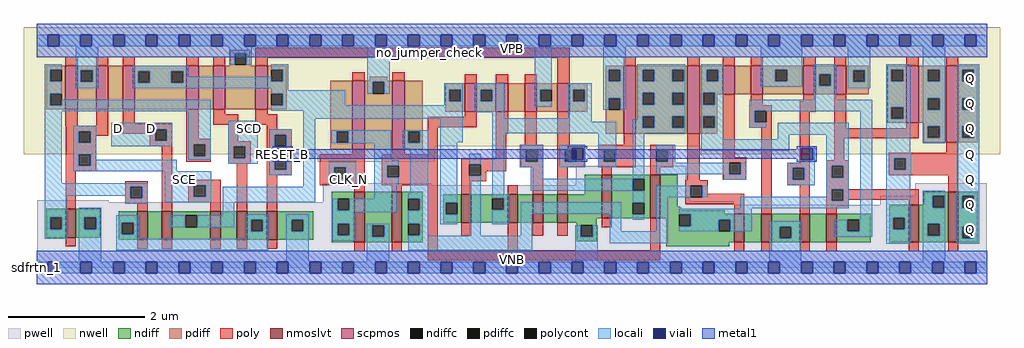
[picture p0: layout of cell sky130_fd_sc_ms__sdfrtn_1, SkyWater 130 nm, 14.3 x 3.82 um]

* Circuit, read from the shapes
.subckt sky130_fd_sc_ms__sdfrtn_1 CLK_N D RESET_B SCD SCE VGND VNB VPB VPWR Q
XM1 VGND SCE n1 VNB sky130_fd_pr__nfet_01v8_lvt w=0.42 l=0.15
XM2 n2 n1 n3 VNB sky130_fd_pr__nfet_01v8_lvt w=0.42 l=0.15
XM3 n4 D n2 VNB sky130_fd_pr__nfet_01v8_lvt w=0.42 l=0.15
XM4 n5 SCE n4 VNB sky130_fd_pr__nfet_01v8_lvt w=0.42 l=0.15
XM5 n3 SCD n5 VNB sky130_fd_pr__nfet_01v8_lvt w=0.42 l=0.15
XM6 VGND RESET_B n3 VNB sky130_fd_pr__nfet_01v8_lvt w=0.42 l=0.15
XM7 VGND CLK_N n6 VNB sky130_fd_pr__nfet_01v8_lvt w=0.74 l=0.15
XM8 n7 n6 VGND VNB sky130_fd_pr__nfet_01v8_lvt w=0.74 l=0.15
XM9 n8 n7 n4 VNB sky130_fd_pr__nfet_01v8_lvt w=0.42 l=0.15
XM10 n9 n6 n8 VNB sky130_fd_pr__nfet_01v8_lvt w=0.42 l=0.15
XM11 n10 n11 n9 VNB sky130_fd_pr__nfet_01v8_lvt w=0.42 l=0.15
XM12 VGND RESET_B n10 VNB sky130_fd_pr__nfet_01v8_lvt w=0.42 l=0.15
XM13 n11 n8 VGND VNB sky130_fd_pr__nfet_01v8_lvt w=0.64 l=0.15
XM14 n12 n6 n11 VNB sky130_fd_pr__nfet_01v8_lvt w=0.64 l=0.15
XM15 n13 n7 n12 VNB sky130_fd_pr__nfet_01v8_lvt w=0.42 l=0.15
XM16 VGND n14 n13 VNB sky130_fd_pr__nfet_01v8_lvt w=0.42 l=0.15
XM17 n15 RESET_B VGND VNB sky130_fd_pr__nfet_01v8_lvt w=0.42 l=0.15
XM18 n14 n12 n15 VNB sky130_fd_pr__nfet_01v8_lvt w=0.42 l=0.15
XM19 VGND n12 n16 VNB sky130_fd_pr__nfet_01v8_lvt w=0.55 l=0.15
XM20 Q n16 VGND VNB sky130_fd_pr__nfet_01v8_lvt w=0.74 l=0.15
XM21 VPWR SCE n1 VPB sky130_fd_pr__pfet_01v8 w=0.64 l=0.18
XM22 n17 SCE VPWR VPB sky130_fd_pr__pfet_01v8 w=0.64 l=0.18
XM23 n4 D n17 VPB sky130_fd_pr__pfet_01v8 w=0.64 l=0.18
XM24 n18 n1 n4 VPB sky130_fd_pr__pfet_01v8 w=0.64 l=0.18
XM25 VPWR SCD n18 VPB sky130_fd_pr__pfet_01v8 w=0.64 l=0.18
XM26 n4 RESET_B VPWR VPB sky130_fd_pr__pfet_01v8 w=0.64 l=0.18
XM27 VPWR CLK_N n6 VPB sky130_fd_pr__pfet_01v8 w=1 l=0.18
XM28 n7 n6 VPWR VPB sky130_fd_pr__pfet_01v8 w=1 l=0.18
XM29 n8 n6 n4 VPB sky130_fd_pr__pfet_01v8 w=0.42 l=0.18
XM30 n19 n7 n8 VPB sky130_fd_pr__pfet_01v8 w=0.42 l=0.18
XM31 VPWR n11 n19 VPB sky130_fd_pr__pfet_01v8 w=0.42 l=0.18
XM32 n8 RESET_B VPWR VPB sky130_fd_pr__pfet_01v8 w=0.42 l=0.18
XM33 n11 n8 VPWR VPB sky130_fd_pr__pfet_01v8 w=1 l=0.18
XM34 n12 n7 n11 VPB sky130_fd_pr__pfet_01v8 w=1 l=0.18
XM35 n20 n6 n12 VPB sky130_fd_pr__pfet_01v8 w=0.42 l=0.18
XM36 VPWR n14 n20 VPB sky130_fd_pr__pfet_01v8 w=0.42 l=0.18
XM37 n14 RESET_B VPWR VPB sky130_fd_pr__pfet_01v8 w=0.42 l=0.18
XM38 VPWR n12 n14 VPB sky130_fd_pr__pfet_01v8 w=0.42 l=0.18
XM39 VPWR n12 n16 VPB sky130_fd_pr__pfet_01v8 w=0.84 l=0.18
XM40 Q n16 VPWR VPB sky130_fd_pr__pfet_01v8 w=1.12 l=0.18
.ends

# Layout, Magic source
magic
tech sky130A
magscale 1 2
<< nwell >>
rect -38 356 2822 704
rect -38 332 1166 356
rect 1945 332 2822 356
rect 823 311 1166 332
<< pwell >>
rect 838 241 1156 248
rect 1579 241 1903 298
rect 838 205 1903 241
rect 2573 210 2783 248
rect 838 201 1911 205
rect 1 191 211 198
rect 838 194 1914 201
rect 838 191 2042 194
rect 1 184 2042 191
rect 2471 184 2783 210
rect 1 49 2783 184
rect 0 0 2784 49
<< scpmos >>
rect 83 464 119 592
rect 173 464 209 592
rect 251 464 287 592
rect 438 464 474 592
rect 516 464 552 592
rect 640 464 676 592
rect 924 347 960 547
rect 1041 347 1077 547
rect 1253 457 1289 541
rect 1345 457 1381 541
rect 1429 457 1465 541
rect 1525 457 1561 541
rect 1719 392 1755 592
rect 1906 392 1942 592
rect 2009 508 2045 592
rect 2091 508 2127 592
rect 2246 508 2282 592
rect 2336 508 2372 592
rect 2548 424 2584 592
rect 2664 368 2700 592
<< nmoslvt >>
rect 84 88 114 172
rect 294 81 324 165
rect 366 81 396 165
rect 508 81 538 165
rect 586 81 616 165
rect 674 81 704 165
rect 930 74 960 222
rect 1039 74 1069 222
rect 1243 131 1273 215
rect 1379 131 1409 215
rect 1453 131 1483 215
rect 1525 131 1555 215
rect 1655 144 1685 272
rect 1797 144 1827 272
rect 2043 74 2073 158
rect 2123 74 2153 158
rect 2235 74 2265 158
rect 2313 74 2343 158
rect 2554 74 2584 184
rect 2670 74 2700 222
<< ndiff >>
rect 27 147 84 172
rect 27 113 39 147
rect 73 113 84 147
rect 27 88 84 113
rect 114 147 185 172
rect 864 202 930 222
rect 864 168 881 202
rect 915 168 930 202
rect 114 113 139 147
rect 173 113 185 147
rect 114 88 185 113
rect 239 132 294 165
rect 239 98 249 132
rect 283 98 294 132
rect 239 81 294 98
rect 324 81 366 165
rect 396 153 508 165
rect 396 119 435 153
rect 469 119 508 153
rect 396 81 508 119
rect 538 81 586 165
rect 616 140 674 165
rect 616 106 628 140
rect 662 106 674 140
rect 616 81 674 106
rect 704 140 810 165
rect 704 106 747 140
rect 781 106 810 140
rect 704 81 810 106
rect 864 129 930 168
rect 864 95 881 129
rect 915 95 930 129
rect 864 74 930 95
rect 960 124 1039 222
rect 960 90 983 124
rect 1017 90 1039 124
rect 960 74 1039 90
rect 1069 202 1130 222
rect 1069 168 1088 202
rect 1122 168 1130 202
rect 1069 129 1130 168
rect 1069 95 1088 129
rect 1122 95 1130 129
rect 1069 74 1130 95
rect 1605 215 1655 272
rect 1190 190 1243 215
rect 1190 156 1198 190
rect 1232 156 1243 190
rect 1190 131 1243 156
rect 1273 203 1379 215
rect 1273 169 1334 203
rect 1368 169 1379 203
rect 1273 131 1379 169
rect 1409 131 1453 215
rect 1483 131 1525 215
rect 1555 144 1655 215
rect 1685 260 1797 272
rect 1685 226 1746 260
rect 1780 226 1797 260
rect 1685 190 1797 226
rect 1685 156 1746 190
rect 1780 156 1797 190
rect 1685 144 1797 156
rect 1827 179 1877 272
rect 1827 175 1885 179
rect 1827 168 1888 175
rect 1827 158 2016 168
rect 2599 210 2670 222
rect 2599 184 2625 210
rect 1827 156 2043 158
rect 1827 144 1882 156
rect 1555 131 1640 144
rect 1582 124 1640 131
rect 1582 90 1594 124
rect 1628 90 1640 124
rect 1582 78 1640 90
rect 1844 122 1882 144
rect 1916 140 2043 156
rect 1916 122 1998 140
rect 1844 106 1998 122
rect 2032 106 2043 140
rect 1844 74 2043 106
rect 2073 74 2123 158
rect 2153 120 2235 158
rect 2153 86 2176 120
rect 2210 86 2235 120
rect 2153 74 2235 86
rect 2265 74 2313 158
rect 2343 140 2443 158
rect 2343 106 2375 140
rect 2409 106 2443 140
rect 2343 74 2443 106
rect 2497 146 2554 184
rect 2497 112 2509 146
rect 2543 112 2554 146
rect 2497 74 2554 112
rect 2584 176 2625 184
rect 2659 176 2670 210
rect 2584 128 2670 176
rect 2584 94 2611 128
rect 2645 94 2670 128
rect 2584 74 2670 94
rect 2700 210 2757 222
rect 2700 176 2711 210
rect 2745 176 2757 210
rect 2700 120 2757 176
rect 2700 86 2711 120
rect 2745 86 2757 120
rect 2700 74 2757 86
rect 1844 62 2028 74
<< pdiff >>
rect 567 628 625 639
rect 567 594 579 628
rect 613 594 625 628
rect 567 592 625 594
rect 27 580 83 592
rect 27 546 39 580
rect 73 546 83 580
rect 27 510 83 546
rect 27 476 39 510
rect 73 476 83 510
rect 27 464 83 476
rect 119 578 173 592
rect 119 544 129 578
rect 163 544 173 578
rect 119 464 173 544
rect 209 464 251 592
rect 287 576 438 592
rect 287 542 297 576
rect 331 542 394 576
rect 428 542 438 576
rect 287 464 438 542
rect 474 464 516 592
rect 552 464 640 592
rect 676 580 732 592
rect 676 546 686 580
rect 720 546 732 580
rect 975 547 1026 560
rect 676 510 732 546
rect 676 476 686 510
rect 720 476 732 510
rect 676 464 732 476
rect 859 400 924 547
rect 859 366 878 400
rect 912 366 924 400
rect 859 347 924 366
rect 960 544 1041 547
rect 960 510 984 544
rect 1018 510 1041 544
rect 960 347 1041 510
rect 1077 400 1130 547
rect 1667 580 1719 592
rect 1667 546 1675 580
rect 1709 546 1719 580
rect 1197 522 1253 541
rect 1197 488 1208 522
rect 1242 488 1253 522
rect 1197 457 1253 488
rect 1289 522 1345 541
rect 1289 488 1300 522
rect 1334 488 1345 522
rect 1289 457 1345 488
rect 1381 457 1429 541
rect 1465 522 1525 541
rect 1465 488 1475 522
rect 1509 488 1525 522
rect 1465 457 1525 488
rect 1561 522 1613 541
rect 1561 488 1571 522
rect 1605 488 1613 522
rect 1561 457 1613 488
rect 1667 496 1719 546
rect 1667 462 1675 496
rect 1709 462 1719 496
rect 1077 366 1088 400
rect 1122 366 1130 400
rect 1077 347 1130 366
rect 1667 392 1719 462
rect 1755 580 1906 592
rect 1755 546 1775 580
rect 1809 546 1862 580
rect 1896 546 1906 580
rect 1755 512 1906 546
rect 1755 478 1775 512
rect 1809 478 1862 512
rect 1896 478 1906 512
rect 1755 444 1906 478
rect 1755 410 1775 444
rect 1809 410 1862 444
rect 1896 410 1906 444
rect 1755 392 1906 410
rect 1942 580 2009 592
rect 1942 546 1963 580
rect 1997 546 2009 580
rect 1942 512 2009 546
rect 1942 478 1952 512
rect 1986 508 2009 512
rect 2045 508 2091 592
rect 2127 580 2246 592
rect 2127 546 2164 580
rect 2198 546 2246 580
rect 2127 508 2246 546
rect 2282 567 2336 592
rect 2282 533 2292 567
rect 2326 533 2336 567
rect 2282 508 2336 533
rect 2372 578 2438 592
rect 2372 544 2392 578
rect 2426 544 2438 578
rect 2372 508 2438 544
rect 2492 580 2548 592
rect 2492 546 2504 580
rect 2538 546 2548 580
rect 1986 478 1994 508
rect 1942 444 1994 478
rect 1942 410 1952 444
rect 1986 410 1994 444
rect 1942 392 1994 410
rect 2492 470 2548 546
rect 2492 436 2504 470
rect 2538 436 2548 470
rect 2492 424 2548 436
rect 2584 580 2664 592
rect 2584 546 2611 580
rect 2645 546 2664 580
rect 2584 497 2664 546
rect 2584 463 2611 497
rect 2645 463 2664 497
rect 2584 424 2664 463
rect 2599 414 2664 424
rect 2599 380 2611 414
rect 2645 380 2664 414
rect 2599 368 2664 380
rect 2700 580 2757 592
rect 2700 546 2711 580
rect 2745 546 2757 580
rect 2700 497 2757 546
rect 2700 463 2711 497
rect 2745 463 2757 497
rect 2700 414 2757 463
rect 2700 380 2711 414
rect 2745 380 2757 414
rect 2700 368 2757 380
<< ndiffc >>
rect 39 113 73 147
rect 881 168 915 202
rect 139 113 173 147
rect 249 98 283 132
rect 435 119 469 153
rect 628 106 662 140
rect 747 106 781 140
rect 881 95 915 129
rect 983 90 1017 124
rect 1088 168 1122 202
rect 1088 95 1122 129
rect 1198 156 1232 190
rect 1334 169 1368 203
rect 1746 226 1780 260
rect 1746 156 1780 190
rect 1594 90 1628 124
rect 1882 122 1916 156
rect 1998 106 2032 140
rect 2176 86 2210 120
rect 2375 106 2409 140
rect 2509 112 2543 146
rect 2625 176 2659 210
rect 2611 94 2645 128
rect 2711 176 2745 210
rect 2711 86 2745 120
<< pdiffc >>
rect 579 594 613 628
rect 39 546 73 580
rect 39 476 73 510
rect 129 544 163 578
rect 297 542 331 576
rect 394 542 428 576
rect 686 546 720 580
rect 686 476 720 510
rect 878 366 912 400
rect 984 510 1018 544
rect 1675 546 1709 580
rect 1208 488 1242 522
rect 1300 488 1334 522
rect 1475 488 1509 522
rect 1571 488 1605 522
rect 1675 462 1709 496
rect 1088 366 1122 400
rect 1775 546 1809 580
rect 1862 546 1896 580
rect 1775 478 1809 512
rect 1862 478 1896 512
rect 1775 410 1809 444
rect 1862 410 1896 444
rect 1963 546 1997 580
rect 1952 478 1986 512
rect 2164 546 2198 580
rect 2292 533 2326 567
rect 2392 544 2426 578
rect 2504 546 2538 580
rect 1952 410 1986 444
rect 2504 436 2538 470
rect 2611 546 2645 580
rect 2611 463 2645 497
rect 2611 380 2645 414
rect 2711 546 2745 580
rect 2711 463 2745 497
rect 2711 380 2745 414
<< poly >>
rect 83 592 119 618
rect 173 592 209 618
rect 251 592 287 618
rect 438 592 474 618
rect 516 592 552 618
rect 640 615 1561 645
rect 640 592 676 615
rect 924 547 960 573
rect 1041 547 1077 573
rect 83 416 119 464
rect 173 416 209 464
rect 84 400 209 416
rect 84 366 123 400
rect 157 386 209 400
rect 251 422 287 464
rect 251 406 396 422
rect 251 392 346 406
rect 157 366 173 386
rect 84 332 173 366
rect 330 372 346 392
rect 380 372 396 406
rect 330 356 396 372
rect 84 298 123 332
rect 157 298 173 332
rect 84 282 173 298
rect 84 172 114 282
rect 258 237 324 253
rect 258 203 274 237
rect 308 203 324 237
rect 258 187 324 203
rect 294 165 324 187
rect 366 165 396 356
rect 438 377 474 464
rect 516 449 552 464
rect 640 449 676 464
rect 516 419 590 449
rect 640 419 704 449
rect 438 361 509 377
rect 438 327 459 361
rect 493 327 509 361
rect 438 311 509 327
rect 560 371 590 419
rect 674 405 704 419
rect 674 389 747 405
rect 560 355 626 371
rect 560 321 576 355
rect 610 321 626 355
rect 560 305 626 321
rect 674 355 697 389
rect 731 355 747 389
rect 674 321 747 355
rect 1253 541 1289 567
rect 1345 541 1381 567
rect 1429 541 1465 567
rect 1525 541 1561 615
rect 1719 592 1755 618
rect 1906 592 1942 618
rect 2009 592 2045 618
rect 2091 592 2127 618
rect 2246 592 2282 618
rect 2336 592 2372 618
rect 2548 592 2584 618
rect 2664 592 2700 618
rect 1253 442 1289 457
rect 1145 412 1289 442
rect 924 332 960 347
rect 1041 332 1077 347
rect 1145 332 1175 412
rect 444 241 538 257
rect 444 207 460 241
rect 494 207 538 241
rect 444 191 538 207
rect 508 165 538 191
rect 586 165 616 305
rect 674 287 697 321
rect 731 287 747 321
rect 674 271 747 287
rect 829 294 960 332
rect 674 165 704 271
rect 829 260 871 294
rect 905 260 960 294
rect 829 242 960 260
rect 1010 299 1175 332
rect 1345 393 1381 457
rect 1345 319 1375 393
rect 1429 360 1465 457
rect 1525 360 1561 457
rect 1719 360 1755 392
rect 1010 265 1026 299
rect 1060 265 1175 299
rect 1010 242 1175 265
rect 930 222 960 242
rect 1039 222 1069 242
rect 84 62 114 88
rect 294 55 324 81
rect 366 55 396 81
rect 508 55 538 81
rect 586 55 616 81
rect 674 55 704 81
rect 930 48 960 74
rect 1039 48 1069 74
rect 1145 51 1175 242
rect 1243 303 1375 319
rect 1243 269 1266 303
rect 1300 283 1375 303
rect 1417 344 1483 360
rect 1417 310 1433 344
rect 1467 310 1483 344
rect 1417 294 1483 310
rect 1300 269 1316 283
rect 1243 253 1316 269
rect 1243 215 1273 253
rect 1379 215 1409 241
rect 1453 215 1483 294
rect 1525 344 1603 360
rect 1525 310 1547 344
rect 1581 310 1603 344
rect 1525 294 1603 310
rect 1645 344 1755 360
rect 1645 310 1661 344
rect 1695 310 1755 344
rect 1645 294 1755 310
rect 1797 344 1864 360
rect 1797 310 1814 344
rect 1848 310 1864 344
rect 1797 294 1864 310
rect 1525 215 1555 294
rect 1655 272 1685 294
rect 1797 272 1827 294
rect 1906 256 1942 392
rect 2009 324 2045 508
rect 2091 476 2127 508
rect 2246 487 2282 508
rect 2087 460 2153 476
rect 2087 426 2103 460
rect 2137 426 2153 460
rect 2087 410 2153 426
rect 2009 308 2079 324
rect 2009 274 2029 308
rect 2063 274 2079 308
rect 2009 258 2079 274
rect 1899 240 1965 256
rect 1899 206 1915 240
rect 1949 216 1965 240
rect 1949 206 2073 216
rect 1899 186 2073 206
rect 2043 158 2073 186
rect 2123 158 2153 410
rect 2235 457 2282 487
rect 2235 308 2265 457
rect 2336 409 2372 508
rect 2548 409 2584 424
rect 2336 379 2584 409
rect 2336 314 2366 379
rect 2664 337 2700 368
rect 2496 321 2700 337
rect 2199 292 2265 308
rect 2199 258 2215 292
rect 2249 258 2265 292
rect 2199 242 2265 258
rect 2235 158 2265 242
rect 2313 298 2379 314
rect 2313 264 2329 298
rect 2363 264 2379 298
rect 2496 287 2512 321
rect 2546 287 2700 321
rect 2496 271 2700 287
rect 2313 230 2379 264
rect 2313 196 2329 230
rect 2363 229 2379 230
rect 2363 199 2584 229
rect 2670 222 2700 271
rect 2363 196 2379 199
rect 2313 180 2379 196
rect 2554 184 2584 199
rect 2313 158 2343 180
rect 1243 93 1273 131
rect 1379 51 1409 131
rect 1453 93 1483 131
rect 1525 93 1555 131
rect 1655 118 1685 144
rect 1797 51 1827 144
rect 1145 21 1827 51
rect 2043 48 2073 74
rect 2123 48 2153 74
rect 2235 48 2265 74
rect 2313 48 2343 74
rect 2554 48 2584 74
rect 2670 48 2700 74
<< polycont >>
rect 123 366 157 400
rect 346 372 380 406
rect 123 298 157 332
rect 274 203 308 237
rect 459 327 493 361
rect 576 321 610 355
rect 697 355 731 389
rect 460 207 494 241
rect 697 287 731 321
rect 871 260 905 294
rect 1026 265 1060 299
rect 1266 269 1300 303
rect 1433 310 1467 344
rect 1547 310 1581 344
rect 1661 310 1695 344
rect 1814 310 1848 344
rect 2103 426 2137 460
rect 2029 274 2063 308
rect 1915 206 1949 240
rect 2215 258 2249 292
rect 2329 264 2363 298
rect 2512 287 2546 321
rect 2329 196 2363 230
<< locali >>
rect 0 649 31 683
rect 65 649 127 683
rect 161 649 223 683
rect 257 649 319 683
rect 353 649 415 683
rect 449 649 511 683
rect 545 649 607 683
rect 641 649 703 683
rect 737 649 799 683
rect 833 649 895 683
rect 929 649 991 683
rect 1025 649 1087 683
rect 1121 649 1183 683
rect 1217 649 1279 683
rect 1313 649 1375 683
rect 1409 649 1471 683
rect 1505 649 1567 683
rect 1601 649 1663 683
rect 1697 649 1759 683
rect 1793 649 1855 683
rect 1889 649 1951 683
rect 1985 649 2047 683
rect 2081 649 2143 683
rect 2177 649 2239 683
rect 2273 649 2335 683
rect 2369 649 2431 683
rect 2465 649 2527 683
rect 2561 649 2623 683
rect 2657 649 2719 683
rect 2753 649 2784 683
rect 23 580 73 596
rect 23 546 39 580
rect 23 510 73 546
rect 113 578 179 649
rect 563 628 629 649
rect 563 594 579 628
rect 613 594 629 628
rect 113 544 129 578
rect 163 544 179 578
rect 113 526 179 544
rect 281 576 444 592
rect 281 542 297 576
rect 331 542 394 576
rect 428 560 444 576
rect 686 580 736 596
rect 428 546 686 560
rect 720 546 736 580
rect 428 542 736 546
rect 281 526 736 542
rect 23 476 39 510
rect 686 520 736 526
rect 968 544 1034 649
rect 686 510 903 520
rect 968 510 984 544
rect 1018 510 1034 544
rect 1193 522 1247 541
rect 73 476 509 492
rect 23 458 509 476
rect 720 476 903 510
rect 1193 488 1208 522
rect 1242 488 1247 522
rect 1193 476 1247 488
rect 686 460 1247 476
rect 23 248 73 458
rect 107 400 173 416
rect 107 366 123 400
rect 157 366 173 400
rect 107 332 173 366
rect 217 406 396 424
rect 217 372 346 406
rect 380 372 396 406
rect 217 356 396 372
rect 443 361 509 458
rect 781 436 1247 460
rect 1283 522 1370 541
rect 1283 488 1300 522
rect 1334 488 1370 522
rect 1283 455 1370 488
rect 1459 522 1509 649
rect 1659 580 1725 649
rect 1659 546 1675 580
rect 1709 546 1725 580
rect 1459 488 1475 522
rect 1459 472 1509 488
rect 1557 522 1625 541
rect 1557 488 1571 522
rect 1605 488 1625 522
rect 107 298 123 332
rect 157 316 173 332
rect 443 327 459 361
rect 493 327 509 361
rect 443 316 509 327
rect 560 355 647 430
rect 560 321 576 355
rect 610 321 647 355
rect 157 298 409 316
rect 560 305 647 321
rect 681 389 747 405
rect 681 355 697 389
rect 731 355 747 389
rect 681 350 747 355
rect 681 321 703 350
rect 107 282 409 298
rect 681 287 697 321
rect 737 316 747 350
rect 731 287 747 316
rect 23 237 324 248
rect 23 210 274 237
rect 23 147 89 210
rect 258 203 274 210
rect 308 203 324 237
rect 258 187 324 203
rect 375 241 510 282
rect 681 271 747 287
rect 375 207 460 241
rect 494 207 510 241
rect 781 237 815 436
rect 862 400 1038 402
rect 862 366 878 400
rect 912 366 1038 400
rect 862 364 1038 366
rect 988 315 1038 364
rect 1072 400 1147 402
rect 1072 366 1088 400
rect 1122 366 1147 400
rect 1072 349 1147 366
rect 855 294 935 310
rect 855 260 871 294
rect 905 260 935 294
rect 855 242 935 260
rect 988 299 1060 315
rect 988 265 1026 299
rect 988 244 1060 265
rect 375 191 510 207
rect 544 192 815 237
rect 988 202 1054 244
rect 1094 218 1147 349
rect 23 113 39 147
rect 73 113 89 147
rect 23 84 89 113
rect 123 147 189 176
rect 544 153 578 192
rect 865 168 881 202
rect 915 168 1054 202
rect 865 162 1054 168
rect 1088 202 1147 218
rect 1122 168 1147 202
rect 123 113 139 147
rect 173 113 189 147
rect 123 17 189 113
rect 233 132 299 153
rect 233 98 249 132
rect 283 98 299 132
rect 391 119 435 153
rect 469 119 578 153
rect 612 140 678 156
rect 233 85 299 98
rect 612 106 628 140
rect 662 106 678 140
rect 612 85 678 106
rect 233 51 678 85
rect 731 140 797 156
rect 731 106 747 140
rect 781 106 797 140
rect 731 17 797 106
rect 865 129 932 162
rect 865 95 881 129
rect 915 95 932 129
rect 1088 129 1147 168
rect 865 79 932 95
rect 967 124 1033 128
rect 967 90 983 124
rect 1017 90 1033 124
rect 967 17 1033 90
rect 1122 95 1147 129
rect 1182 368 1247 436
rect 1334 438 1370 455
rect 1557 438 1625 488
rect 1659 496 1725 546
rect 1659 462 1675 496
rect 1709 462 1725 496
rect 1759 580 1899 596
rect 1759 546 1775 580
rect 1809 546 1862 580
rect 1896 546 1899 580
rect 1759 512 1899 546
rect 1759 478 1775 512
rect 1809 478 1862 512
rect 1896 478 1899 512
rect 1334 428 1625 438
rect 1759 444 1899 478
rect 1759 433 1775 444
rect 1334 394 1698 428
rect 1182 190 1232 368
rect 1182 156 1198 190
rect 1182 127 1232 156
rect 1266 303 1300 334
rect 1088 93 1147 95
rect 1266 93 1300 269
rect 1334 215 1370 394
rect 1415 344 1483 360
rect 1415 310 1433 344
rect 1467 310 1483 344
rect 1415 294 1483 310
rect 1531 350 1607 360
rect 1531 344 1567 350
rect 1531 310 1547 344
rect 1601 316 1607 350
rect 1581 310 1607 316
rect 1531 294 1607 310
rect 1645 344 1698 394
rect 1645 310 1661 344
rect 1695 310 1698 344
rect 1645 294 1698 310
rect 1746 410 1775 433
rect 1809 410 1862 444
rect 1896 410 1899 444
rect 1746 394 1899 410
rect 1947 580 2013 596
rect 1947 546 1963 580
rect 1997 546 2013 580
rect 1947 512 2013 546
rect 2121 580 2242 649
rect 2121 546 2164 580
rect 2198 546 2242 580
rect 2121 530 2242 546
rect 2276 567 2342 596
rect 2276 533 2292 567
rect 2326 533 2342 567
rect 1947 478 1952 512
rect 1986 478 2013 512
rect 2276 492 2342 533
rect 2376 578 2442 649
rect 2376 544 2392 578
rect 2426 544 2442 578
rect 2376 526 2442 544
rect 2488 580 2559 596
rect 2488 546 2504 580
rect 2538 546 2559 580
rect 1947 444 2013 478
rect 1947 410 1952 444
rect 1986 410 2013 444
rect 2087 460 2447 492
rect 2087 426 2103 460
rect 2137 458 2447 460
rect 2087 410 2137 426
rect 1447 260 1483 294
rect 1746 260 1780 394
rect 1947 376 2013 410
rect 2171 390 2379 424
rect 2171 376 2205 390
rect 1814 344 1870 360
rect 1848 310 1870 344
rect 1947 342 2205 376
rect 2239 350 2279 356
rect 1814 308 1870 310
rect 2273 316 2279 350
rect 2239 308 2279 316
rect 1814 274 2029 308
rect 2063 274 2079 308
rect 1447 226 1746 260
rect 2013 258 2079 274
rect 2199 292 2279 308
rect 2199 258 2215 292
rect 2249 258 2279 292
rect 2199 242 2279 258
rect 2313 298 2379 390
rect 2313 264 2329 298
rect 2363 264 2379 298
rect 1334 203 1384 215
rect 1368 169 1384 203
rect 1334 127 1384 169
rect 1418 158 1712 192
rect 1418 93 1452 158
rect 1088 51 1452 93
rect 1578 90 1594 124
rect 1628 90 1644 124
rect 1578 17 1644 90
rect 1678 106 1712 158
rect 1746 190 1780 226
rect 1746 140 1780 156
rect 1814 206 1915 240
rect 1949 206 1965 240
rect 2313 230 2379 264
rect 2313 208 2329 230
rect 1814 106 1848 206
rect 2061 196 2329 208
rect 2363 196 2379 230
rect 2061 174 2379 196
rect 2061 172 2095 174
rect 1882 156 2095 172
rect 1916 140 2095 156
rect 2413 140 2447 458
rect 1916 122 1998 140
rect 1882 106 1998 122
rect 2032 106 2095 140
rect 2146 120 2240 136
rect 1678 72 1848 106
rect 2146 86 2176 120
rect 2210 86 2240 120
rect 2338 106 2375 140
rect 2409 106 2447 140
rect 2338 90 2447 106
rect 2488 470 2559 546
rect 2488 436 2504 470
rect 2538 436 2559 470
rect 2488 337 2559 436
rect 2595 580 2661 649
rect 2595 546 2611 580
rect 2645 546 2661 580
rect 2595 497 2661 546
rect 2595 463 2611 497
rect 2645 463 2661 497
rect 2595 414 2661 463
rect 2595 380 2611 414
rect 2645 380 2661 414
rect 2595 364 2661 380
rect 2695 580 2761 596
rect 2695 546 2711 580
rect 2745 546 2761 580
rect 2695 497 2761 546
rect 2695 463 2711 497
rect 2745 463 2761 497
rect 2695 414 2761 463
rect 2695 380 2711 414
rect 2745 380 2761 414
rect 2488 321 2562 337
rect 2488 287 2512 321
rect 2546 287 2562 321
rect 2488 271 2562 287
rect 2488 146 2559 271
rect 2488 112 2509 146
rect 2543 112 2559 146
rect 2146 17 2240 86
rect 2488 70 2559 112
rect 2595 210 2661 226
rect 2595 176 2625 210
rect 2659 176 2661 210
rect 2595 128 2661 176
rect 2595 94 2611 128
rect 2645 94 2661 128
rect 2595 17 2661 94
rect 2695 210 2761 380
rect 2695 176 2711 210
rect 2745 176 2761 210
rect 2695 120 2761 176
rect 2695 86 2711 120
rect 2745 86 2761 120
rect 2695 70 2761 86
rect 0 -17 31 17
rect 65 -17 127 17
rect 161 -17 223 17
rect 257 -17 319 17
rect 353 -17 415 17
rect 449 -17 511 17
rect 545 -17 607 17
rect 641 -17 703 17
rect 737 -17 799 17
rect 833 -17 895 17
rect 929 -17 991 17
rect 1025 -17 1087 17
rect 1121 -17 1183 17
rect 1217 -17 1279 17
rect 1313 -17 1375 17
rect 1409 -17 1471 17
rect 1505 -17 1567 17
rect 1601 -17 1663 17
rect 1697 -17 1759 17
rect 1793 -17 1855 17
rect 1889 -17 1951 17
rect 1985 -17 2047 17
rect 2081 -17 2143 17
rect 2177 -17 2239 17
rect 2273 -17 2335 17
rect 2369 -17 2431 17
rect 2465 -17 2527 17
rect 2561 -17 2623 17
rect 2657 -17 2719 17
rect 2753 -17 2784 17
<< viali >>
rect 31 649 65 683
rect 127 649 161 683
rect 223 649 257 683
rect 319 649 353 683
rect 415 649 449 683
rect 511 649 545 683
rect 607 649 641 683
rect 703 649 737 683
rect 799 649 833 683
rect 895 649 929 683
rect 991 649 1025 683
rect 1087 649 1121 683
rect 1183 649 1217 683
rect 1279 649 1313 683
rect 1375 649 1409 683
rect 1471 649 1505 683
rect 1567 649 1601 683
rect 1663 649 1697 683
rect 1759 649 1793 683
rect 1855 649 1889 683
rect 1951 649 1985 683
rect 2047 649 2081 683
rect 2143 649 2177 683
rect 2239 649 2273 683
rect 2335 649 2369 683
rect 2431 649 2465 683
rect 2527 649 2561 683
rect 2623 649 2657 683
rect 2719 649 2753 683
rect 703 321 737 350
rect 703 316 731 321
rect 731 316 737 321
rect 1567 344 1601 350
rect 1567 316 1581 344
rect 1581 316 1601 344
rect 2239 316 2273 350
rect 31 -17 65 17
rect 127 -17 161 17
rect 223 -17 257 17
rect 319 -17 353 17
rect 415 -17 449 17
rect 511 -17 545 17
rect 607 -17 641 17
rect 703 -17 737 17
rect 799 -17 833 17
rect 895 -17 929 17
rect 991 -17 1025 17
rect 1087 -17 1121 17
rect 1183 -17 1217 17
rect 1279 -17 1313 17
rect 1375 -17 1409 17
rect 1471 -17 1505 17
rect 1567 -17 1601 17
rect 1663 -17 1697 17
rect 1759 -17 1793 17
rect 1855 -17 1889 17
rect 1951 -17 1985 17
rect 2047 -17 2081 17
rect 2143 -17 2177 17
rect 2239 -17 2273 17
rect 2335 -17 2369 17
rect 2431 -17 2465 17
rect 2527 -17 2561 17
rect 2623 -17 2657 17
rect 2719 -17 2753 17
<< metal1 >>
rect 0 683 2784 715
rect 0 649 31 683
rect 65 649 127 683
rect 161 649 223 683
rect 257 649 319 683
rect 353 649 415 683
rect 449 649 511 683
rect 545 649 607 683
rect 641 649 703 683
rect 737 649 799 683
rect 833 649 895 683
rect 929 649 991 683
rect 1025 649 1087 683
rect 1121 649 1183 683
rect 1217 649 1279 683
rect 1313 649 1375 683
rect 1409 649 1471 683
rect 1505 649 1567 683
rect 1601 649 1663 683
rect 1697 649 1759 683
rect 1793 649 1855 683
rect 1889 649 1951 683
rect 1985 649 2047 683
rect 2081 649 2143 683
rect 2177 649 2239 683
rect 2273 649 2335 683
rect 2369 649 2431 683
rect 2465 649 2527 683
rect 2561 649 2623 683
rect 2657 649 2719 683
rect 2753 649 2784 683
rect 0 617 2784 649
rect 691 350 749 356
rect 691 316 703 350
rect 737 347 749 350
rect 1555 350 1613 356
rect 1555 347 1567 350
rect 737 319 1567 347
rect 737 316 749 319
rect 691 310 749 316
rect 1555 316 1567 319
rect 1601 347 1613 350
rect 2227 350 2285 356
rect 2227 347 2239 350
rect 1601 319 2239 347
rect 1601 316 1613 319
rect 1555 310 1613 316
rect 2227 316 2239 319
rect 2273 316 2285 350
rect 2227 310 2285 316
rect 0 17 2784 49
rect 0 -17 31 17
rect 65 -17 127 17
rect 161 -17 223 17
rect 257 -17 319 17
rect 353 -17 415 17
rect 449 -17 511 17
rect 545 -17 607 17
rect 641 -17 703 17
rect 737 -17 799 17
rect 833 -17 895 17
rect 929 -17 991 17
rect 1025 -17 1087 17
rect 1121 -17 1183 17
rect 1217 -17 1279 17
rect 1313 -17 1375 17
rect 1409 -17 1471 17
rect 1505 -17 1567 17
rect 1601 -17 1663 17
rect 1697 -17 1759 17
rect 1793 -17 1855 17
rect 1889 -17 1951 17
rect 1985 -17 2047 17
rect 2081 -17 2143 17
rect 2177 -17 2239 17
rect 2273 -17 2335 17
rect 2369 -17 2431 17
rect 2465 -17 2527 17
rect 2561 -17 2623 17
rect 2657 -17 2719 17
rect 2753 -17 2784 17
rect 0 -49 2784 -17
<< labels >>
flabel pwell s 0 0 2784 49 0 FreeSans 200 0 0 0 VNB
port 7 nsew ground bidirectional
flabel nwell s 0 617 2784 666 0 FreeSans 200 0 0 0 VPB
port 8 nsew power bidirectional
flabel comment s 1150 630 1150 630 0 FreeSans 300 0 0 0 no_jumper_check
flabel comment s 1471 36 1471 36 0 FreeSans 300 0 0 0 no_jumper_check
rlabel comment s 0 0 0 0 4 sdfrtn_1
flabel metal1 s 703 316 737 350 0 FreeSans 340 0 0 0 RESET_B
port 3 nsew signal input
flabel metal1 s 0 617 2784 666 0 FreeSans 340 0 0 0 VPWR
port 9 nsew power bidirectional
flabel metal1 s 0 0 2784 49 0 FreeSans 340 0 0 0 VGND
port 6 nsew ground bidirectional
flabel locali s 2719 94 2753 128 0 FreeSans 340 0 0 0 Q
port 10 nsew signal output
flabel locali s 2719 168 2753 202 0 FreeSans 340 0 0 0 Q
port 10 nsew signal output
flabel locali s 2719 242 2753 276 0 FreeSans 340 0 0 0 Q
port 10 nsew signal output
flabel locali s 2719 316 2753 350 0 FreeSans 340 0 0 0 Q
port 10 nsew signal output
flabel locali s 2719 390 2753 424 0 FreeSans 340 0 0 0 Q
port 10 nsew signal output
flabel locali s 2719 464 2753 498 0 FreeSans 340 0 0 0 Q
port 10 nsew signal output
flabel locali s 2719 538 2753 572 0 FreeSans 340 0 0 0 Q
port 10 nsew signal output
flabel locali s 895 242 929 276 0 FreeSans 340 0 0 0 CLK_N
port 1 nsew clock input
flabel locali s 607 316 641 350 0 FreeSans 340 0 0 0 SCD
port 4 nsew signal input
flabel locali s 607 390 641 424 0 FreeSans 340 0 0 0 SCD
port 4 nsew signal input
flabel locali s 415 242 449 276 0 FreeSans 340 0 0 0 SCE
port 5 nsew signal input
flabel locali s 223 390 257 424 0 FreeSans 340 0 0 0 D
port 2 nsew signal input
flabel locali s 319 390 353 424 0 FreeSans 340 0 0 0 D
port 2 nsew signal input
<< properties >>
string LEFsite unit
string LEFclass CORE
string FIXED_BBOX 0 0 2784 666
string GDS_FILE $PDKPATH/libs.ref/sky130_fd_sc_ms/gds/sky130_fd_sc_ms.gds
string LEFsymmetry X Y R90
string GDS_END 2857794
string GDS_START 2837064
<< end >>
